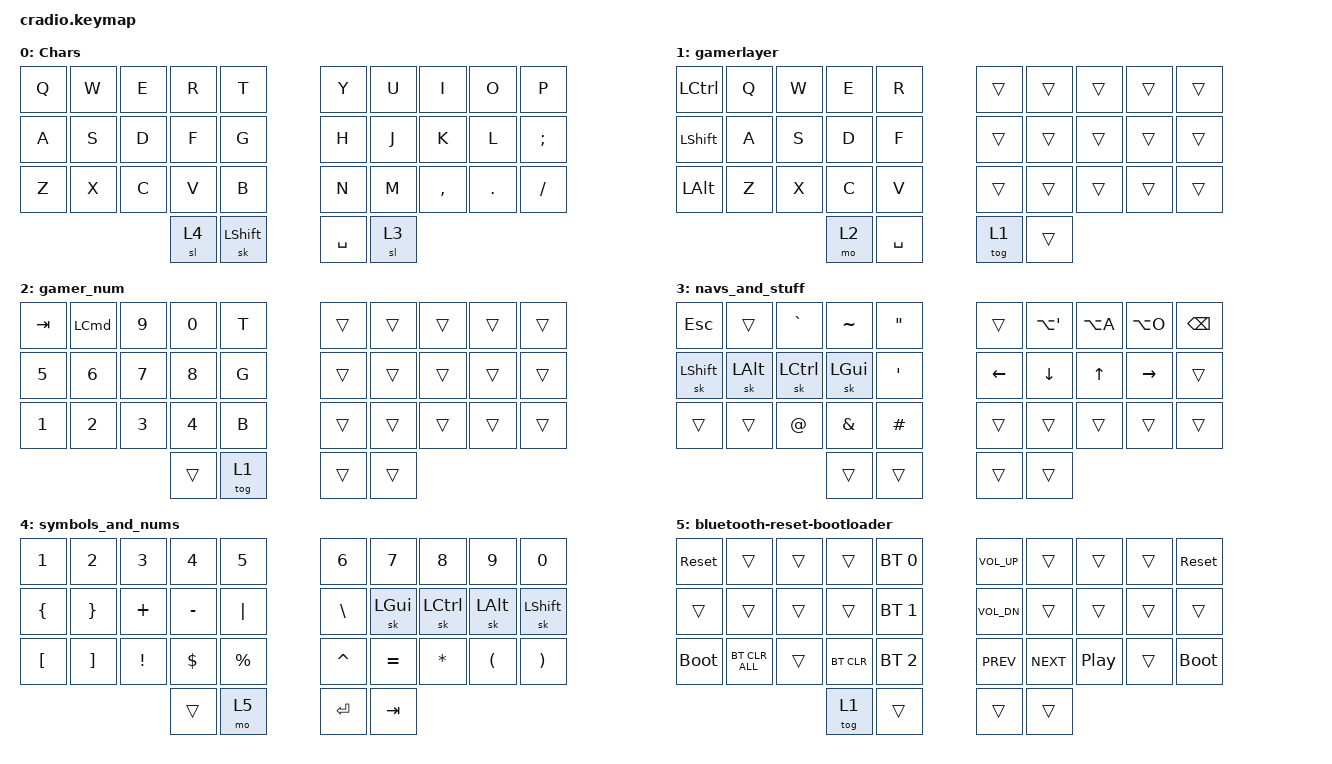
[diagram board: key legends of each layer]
#include <behaviors.dtsi>
#include <dt-bindings/zmk/bt.h>
#include <dt-bindings/zmk/keys.h>

&sk { quick-release; };

/ {
    combos {
        compatible = "zmk,combos";

        kl-backspace {
            bindings = <&kp BACKSPACE>;
            key-positions = <17 18>;
            layers = <0 2>;
        };

        jk_enter {
            bindings = <&kp ENTER>;
            key-positions = <16 17>;
            layers = <0 1>;
        };

        we_tab {
            bindings = <&kp TAB>;
            key-positions = <2 1>;
            layers = <0>;
        };

        qw_escape {
            bindings = <&kp ESCAPE>;
            key-positions = <0 1>;
        };

        quoteslash_pause {
            bindings = <&kp C_PLAY_PAUSE>;
            key-positions = <29 19>;
        };

        gamer_enter {
            bindings = <&kp ENTER>;
            key-positions = <13 14>;
            layers = <1>;
        };

        l-semicolon_delete {
            bindings = <&kp DELETE>;
            key-positions = <18 19>;
        };

        commadot_underscore {
            bindings = <&kp UNDERSCORE>;
            key-positions = <27 28>;
        };

        bottom_row_gamer {
            bindings = <&tog 1>;
            key-positions = <30 31 32 33>;
        };
    };

    keymap {
        compatible = "zmk,keymap";

        Chars {
            bindings = <
&kp Q  &kp W  &kp E  &kp R  &kp T        &kp Y      &kp U  &kp I      &kp O    &kp P
&kp A  &kp S  &kp D  &kp F  &kp G        &kp H      &kp J  &kp K      &kp L    &kp SEMICOLON
&kp Z  &kp X  &kp C  &kp V  &kp B        &kp N      &kp M  &kp COMMA  &kp DOT  &kp SLASH
                     &sl 4  &sk LSHFT    &kp SPACE  &sl 3
            >;
        };

        gamerlayer {
            bindings = <
&kp LEFT_CONTROL  &kp Q  &kp W  &kp E  &kp R        &trans  &trans  &trans  &trans  &trans
&kp LEFT_SHIFT    &kp A  &kp S  &kp D  &kp F        &trans  &trans  &trans  &trans  &trans
&kp LEFT_ALT      &kp Z  &kp X  &kp C  &kp V        &trans  &trans  &trans  &trans  &trans
                                &mo 2  &kp SPACE    &tog 1  &trans
            >;
        };

        gamer_num {
            bindings = <
&kp TAB  &kp LEFT_COMMAND  &kp N9  &kp N0  &kp T     &trans  &trans  &trans  &trans  &trans
&kp N5   &kp N6            &kp N7  &kp N8  &kp G     &trans  &trans  &trans  &trans  &trans
&kp N1   &kp N2            &kp N3  &kp N4  &kp B     &trans  &trans  &trans  &trans  &trans
                                   &trans  &tog 1    &trans  &trans
            >;
        };

        navs_and_stuff {
            bindings = <
&kp ESCAPE      &trans        &kp GRAVE  &kp TILDE      &kp DOUBLE_QUOTES    &trans    &kp LA(SINGLE_QUOTE)  &kp LA(A)  &kp LA(O)  &kp BACKSPACE
&sk LEFT_SHIFT  &sk LEFT_ALT  &sk LCTRL  &sk LEFT_GUI   &kp APOS             &kp LEFT  &kp DOWN              &kp UP     &kp RIGHT  &trans
&trans          &trans        &kp AT     &kp AMPERSAND  &kp POUND            &trans    &trans                &trans     &trans     &trans
                                         &trans         &trans               &trans    &trans
            >;
        };

        symbols_and_nums {
            bindings = <
&kp NUMBER_1      &kp N2             &kp N3    &kp N4      &kp N5         &kp NUMBER_6   &kp N7        &kp N8        &kp N9                &kp N0
&kp LEFT_BRACE    &kp RIGHT_BRACE    &kp PLUS  &kp MINUS   &kp PIPE       &kp BACKSLASH  &sk LEFT_GUI  &sk LCTRL     &sk LEFT_ALT          &sk LSHFT
&kp LEFT_BRACKET  &kp RIGHT_BRACKET  &kp EXCL  &kp DOLLAR  &kp PERCENT    &kp CARET      &kp EQUAL     &kp ASTERISK  &kp LEFT_PARENTHESIS  &kp RIGHT_PARENTHESIS
                                               &trans      &mo 5          &kp ENTER      &kp TAB
            >;
        };

        bluetooth-reset-bootloader {
            bindings = <
&sys_reset   &trans          &trans  &trans      &bt BT_SEL 0    &kp C_VOL_UP  &trans      &trans    &trans  &sys_reset
&trans       &trans          &trans  &trans      &bt BT_SEL 1    &kp C_VOL_DN  &trans      &trans    &trans  &trans
&bootloader  &bt BT_CLR_ALL  &trans  &bt BT_CLR  &bt BT_SEL 2    &kp C_PREV    &kp C_NEXT  &kp C_PP  &trans  &bootloader
                                     &tog 1      &trans          &trans        &trans
            >;
        };
    };
};
